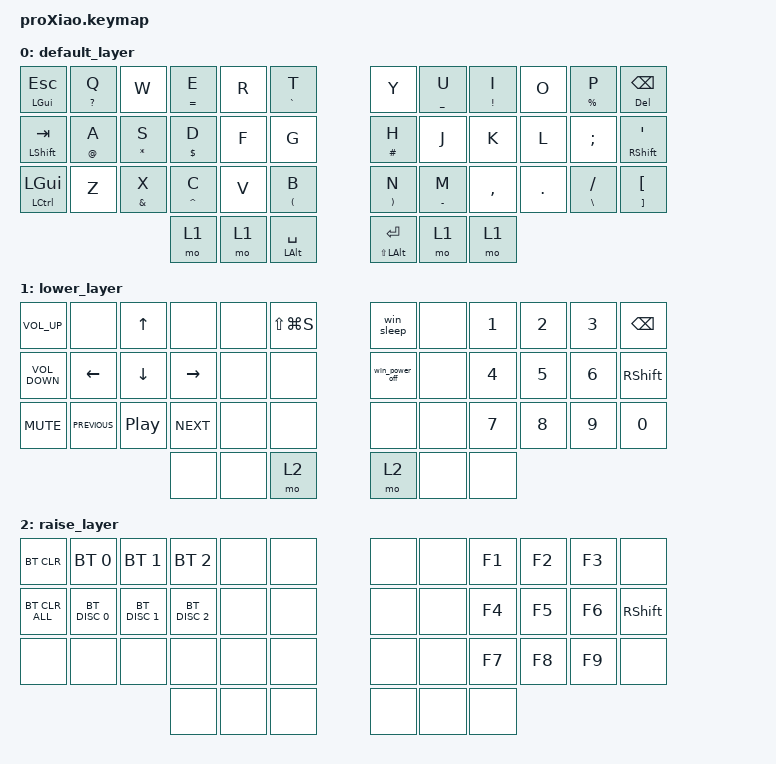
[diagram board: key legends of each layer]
#include <behaviors.dtsi>
#include <dt-bindings/zmk/bt.h>
#include <dt-bindings/zmk/keys.h>

#define DEF 0
#define LWR 1
#define RSE 2
#define ADJ 3

&mt { quick_tap_ms = <220>; };

/ {
    macros {
         // Windows power off key
        win_power_off: win_power_off {
            wait-ms = <50>;
            tap-ms = <5>;
            compatible = "zmk,behavior-macro";
            label = "WIN_POWER_OFF_KEY";
            #binding-cells = <0>;
            bindings = <&kp LG(X) &kp U &kp RIGHT &kp DOWN &kp ENTER>;
        };
        // Windows sleep key
        win_sleep: win_sleep {
            wait-ms = <50>;
            tap-ms = <5>;
            compatible = "zmk,behavior-macro";
            label = "WIN_SLEEP_KEY";
            #binding-cells = <0>;
            bindings = <&kp LG(X) &kp U &kp S>;
        };
    };
};

/ {
    behaviors {
        LHT: LHT {
            compatible = "zmk,behavior-hold-tap";
            label = "LHT";
            bindings = <&kp>, <&kp>;

            #binding-cells = <2>;
            tapping-term-ms = <299>;
            flavor = "tap-preferred";
        };
    };

    keymap {
        compatible = "zmk,keymap";

        default_layer {
            bindings = <
&mt LEFT_GUI ESCAPE  &LHT QUESTION Q  &kp W             &LHT EQUAL E   &kp R  &LHT GRAVE T             &kp Y                     &LHT UNDER U  &LHT EXCLAMATION I  &kp O    &LHT PERCENT P        &mt DEL BACKSPACE
&mt LEFT_SHIFT TAB   &LHT AT_SIGN A   &LHT ASTERISK S   &LHT DOLLAR D  &kp F  &kp G                    &LHT HASH H               &kp J         &kp K               &kp L    &kp SEMI              &mt RSHIFT SQT
&mt LCTRL LEFT_GUI   &kp Z            &LHT AMPERSAND X  &LHT CARET C   &kp V  &LHT LEFT_PARENTHESIS B  &LHT RIGHT_PARENTHESIS N  &LHT MINUS M  &kp COMMA           &kp DOT  &LHT BACKSLASH SLASH  &LHT RIGHT_BRACKET LEFT_BRACKET
                                                        &mo 1          &mo 1  &mt LEFT_ALT SPACE       &mt LS(LEFT_ALT) ENTER    &mo 1         &mo 1
            >;
        };

        lower_layer {
            bindings = <
&kp C_VOL_UP       &none           &kp UP_ARROW      &none       &none  &kp LS(LG(S))  &win_sleep  &none  &kp NUMBER_1  &kp NUMBER_2  &kp NUMBER_3  &kp BACKSPACE
&kp C_VOLUME_DOWN  &kp LEFT_ARROW  &kp DOWN          &kp RIGHT   &none  &none          &win_power_off       &none  &kp NUMBER_4  &kp N5        &kp NUMBER_6  &kp RIGHT_SHIFT
&kp K_MUTE         &kp C_PREVIOUS  &kp C_PLAY_PAUSE  &kp C_NEXT  &none  &none          &none       &none  &kp N7        &kp N8        &kp N9        &kp N0
                                                     &none       &none  &mo 2          &mo 2       &none  &none
            >;
        };

        raise_layer {
            bindings = <
&bt BT_CLR      &bt BT_SEL 0   &bt BT_SEL 1   &bt BT_SEL 2   &none  &none  &none  &none  &kp F1  &kp F2  &kp F3  &none
&bt BT_CLR_ALL  &bt BT_DISC 0  &bt BT_DISC 1  &bt BT_DISC 2  &none  &none  &none  &none  &kp F4  &kp F5  &kp F6  &kp RIGHT_SHIFT
&none           &none          &none          &none          &none  &none  &none  &none  &kp F7  &kp F8  &kp F9  &none
                                              &none          &none  &none  &none  &none  &none
            >;
        };
    };
};
